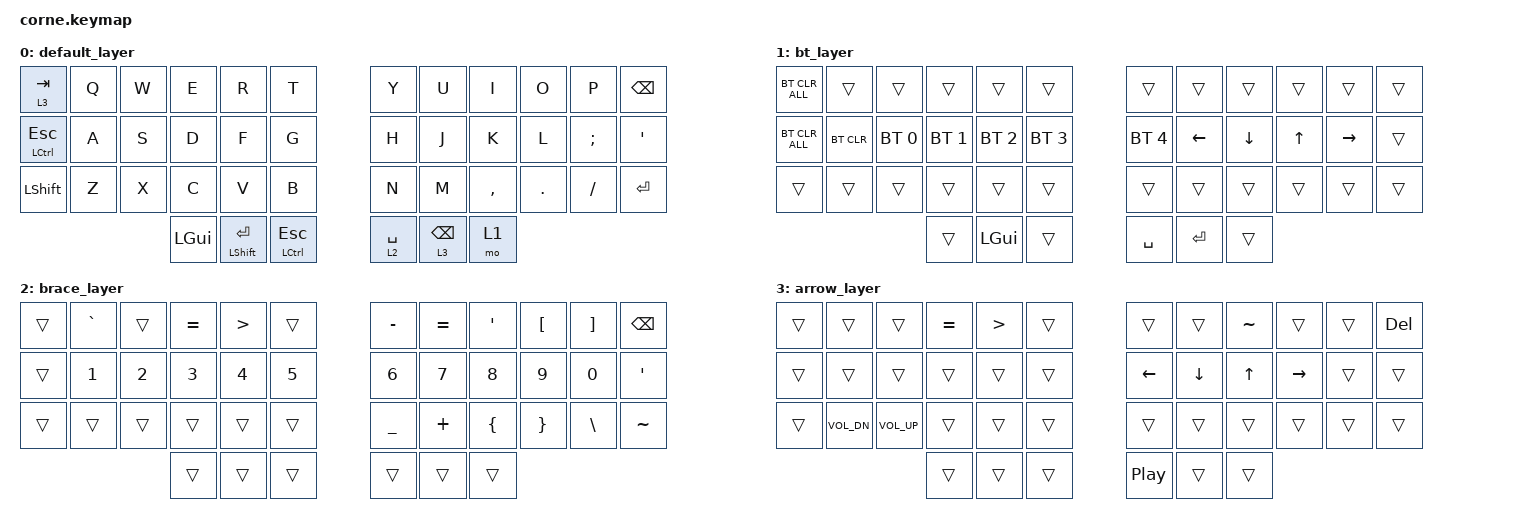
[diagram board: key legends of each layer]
/*
 * Copyright (c) 2020 The ZMK Contributors
 *
 * SPDX-License-Identifier: MIT
 */

#include <behaviors.dtsi>
#include <dt-bindings/zmk/bt.h>
#include <dt-bindings/zmk/keys.h>

#define DEFAULT 0
#define BT 1
#define NUMBERS 2
#define BRACES 3
#define ARROWS 4

// &mt { tapping_term-ms = <400>; };

/ {
    combos {
        compatible = "zmk,combos";

        hmr_gui {
            bindings = <&kp LEFT_GUI>;
            key-positions = <19 21>;
        };

        hmr_gui_left {
            bindings = <&kp LEFT_GUI>;
            key-positions = <14 16>;
        };
    };

    keymap {
        compatible = "zmk,keymap";

        default_layer {
            // -----------------------------------------------------------------------------------------
            // |  TAB |  Q  |  W  |  E  |  R  |  T  |   |  Y  |  U   |  I  |  O  |  P  | BKSP |
            // | CTRL/ESC |  A  |  S  |  D  |  F  |  G  |   |  H  |  J   |  K  |  L  |  ;  |  '   |
            // | SHFT |  Z  |  X  |  C  |  V  |  B  |   |  N  |  M   |  ,  |  .  |  /  | ESC  |
            //                    | GUI | LWR | SPC |   | ENT | RSE  | ALT |

            bindings = <
&lt 3 TAB      &kp Q  &kp W  &kp E     &kp R                 &kp T               &kp Y        &kp U            &kp I      &kp O    &kp P     &kp BSPC
&mt LCTRL ESC  &kp A  &kp S  &kp D     &kp F                 &kp G               &kp H        &kp J            &kp K      &kp L    &kp SEMI  &kp SQT
&kp LSHFT      &kp Z  &kp X  &kp C     &kp V                 &kp B               &kp N        &kp M            &kp COMMA  &kp DOT  &kp FSLH  &kp ENTER
                             &kp LGUI  &mt LEFT_SHIFT ENTER  &mt LCTRL ESCAPE    &lt 2 SPACE  &lt 3 BACKSPACE  &mo 1
            >;
        };

        bt_layer {
            // -----------------------------------------------------------------------------------------
            // |  TAB |     |     |     |     |     |   |     |     |     |     |     | BKSP |
            // | BTCLR| BT1 | BT2 | BT3 | BT4 | BT5 |   | LFT | DWN |  UP | RGT |     |      |
            // | SHFT |     |     |     |     |     |   |     |     |     |     |     |      |
            //                    | GUI |     | SPC |   | ENT |     | ALT |

            bindings = <
&bt BT_CLR_ALL  &trans      &trans        &trans        &trans        &trans          &trans        &trans    &trans    &trans  &trans     &trans
&bt BT_CLR_ALL  &bt BT_CLR  &bt BT_SEL 0  &bt BT_SEL 1  &bt BT_SEL 2  &bt BT_SEL 3    &bt BT_SEL 4  &kp LEFT  &kp DOWN  &kp UP  &kp RIGHT  &trans
&trans  &trans      &trans        &trans        &trans        &trans          &trans        &trans    &trans    &trans  &trans     &trans
                                  &trans        &kp LGUI      &trans          &kp SPACE     &kp RET   &trans
            >;
        };

        brace_layer {
            // -----------------------------------------------------------------------------------------
            // |  TAB |  !  |  @  |  #  |  $  |  %  |   |  ^  |  &  |  *  |  (  |  )  | BKSP |
            // | CTRL |     |     |     |     |     |   |  -  |  =  |  [  |  ]  |  \  |  `   |
            // | SHFT |     |     |     |     |     |   |  _  |  +  |  {  |  }  | "|" |  ~   |
            //                    | GUI |     | SPC |   | ENT |     | ALT |

            bindings = <
&trans  &kp GRAVE  &trans  &kp EQUAL  &kp GREATER_THAN  &trans    &kp MINUS  &kp EQUAL  &kp SINGLE_QUOTE  &kp LEFT_BRACKET  &kp RIGHT_BRACKET  &kp BSPC
&trans  &kp N1     &kp N2  &kp N3     &kp N4            &kp N5    &kp N6     &kp N7     &kp N8            &kp N9            &kp N0             &kp SINGLE_QUOTE
&trans  &trans     &trans  &trans     &trans            &trans    &kp UNDER  &kp PLUS   &kp LBRC          &kp RBRC          &kp BACKSLASH      &kp TILDE
                           &trans     &trans            &trans    &trans     &trans     &trans
            >;
        };

        arrow_layer {
            bindings = <
&trans  &trans        &trans           &kp EQUAL  &kp GREATER_THAN  &trans    &trans            &trans    &kp TILDE     &trans     &trans  &kp DEL
&trans  &trans        &trans           &trans     &trans            &trans    &kp LEFT          &kp DOWN  &kp UP_ARROW  &kp RIGHT  &trans  &trans
&trans  &kp C_VOL_DN  &kp C_VOLUME_UP  &trans     &trans            &trans    &trans            &trans    &trans        &trans     &trans  &trans
                                       &trans     &trans            &trans    &kp C_PLAY_PAUSE  &trans    &trans
            >;
        };
    };
};
